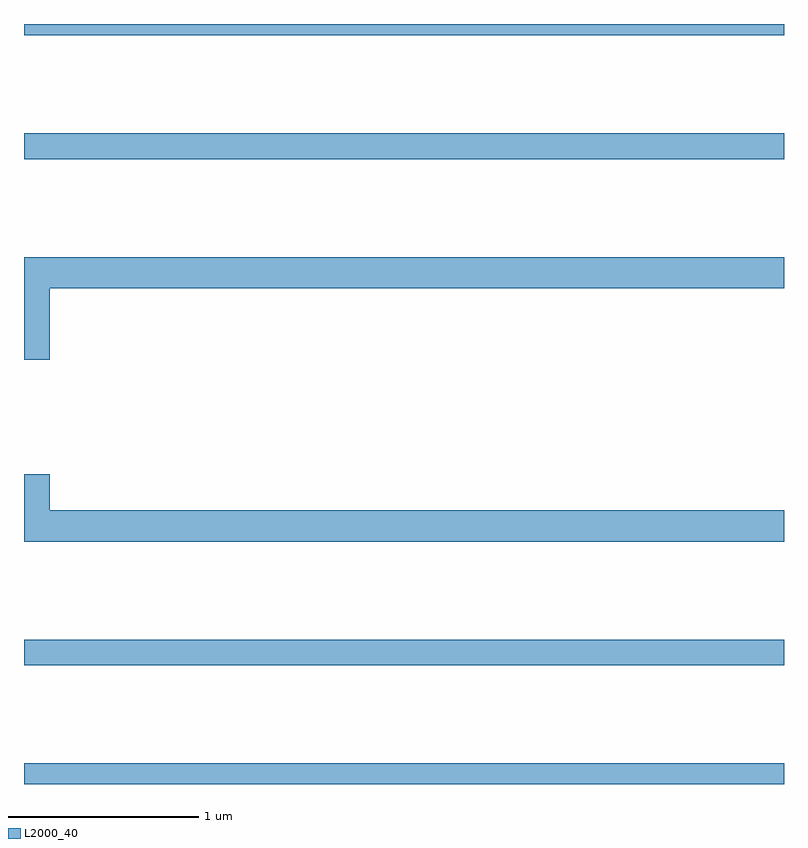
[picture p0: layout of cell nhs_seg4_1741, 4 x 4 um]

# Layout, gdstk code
import gdstk
lib = gdstk.Library(unit=1e-6, precision=1e-09)
def R(c, l, rs):  # rectangles x0, y0, x1, y1
    for r in rs: c.add(gdstk.rectangle(r[:2], r[2:], *l))
def P(c, l, *ps):  # polygons
    for p in ps: c.add(gdstk.Polygon(p, *l))
L2000_40 = (2000, 40)

nhs_seg4_1741 = lib.new_cell('nhs_seg4_1741')
R(nhs_seg4_1741, L2000_40, [(201,772.9,205,773.008), (201,773.524,205,773.66), (201,776.188,205,776.324), (201,776.84,205,776.9)])
P(nhs_seg4_1741, L2000_40, [(201.136,775.508),(205,775.508),(205,775.672),(201,775.672),(201,775.134),(201.136,775.134)],
  [(205,774.34),(201.136,774.34),(201.136,774.529),(201,774.529),(201,774.176),(205,774.176)])

lib.write_gds('nhs_seg4_1741.gds')
